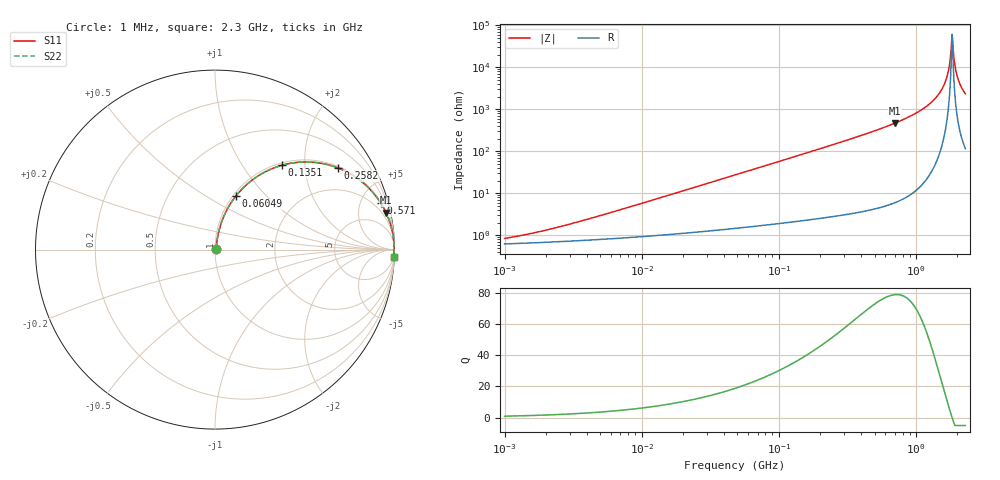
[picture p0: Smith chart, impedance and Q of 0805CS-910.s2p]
# MHz S MA R 50
!Freq  MagS11  AngS11  MagS21  AngS21  MagS12  AngS12  MagS22  AngS22
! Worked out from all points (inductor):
!   801 points, 1 MHz to 2.3 GHz, reference 50 ohm
!   read as one part in series: L = 90 nH near 4.067 MHz
!   highest Q = 78.6 at 699.6 MHz (marker M1), where L = 105 nH
!   self-resonance near 1.841 GHz
!   S11 on the Smith chart (normalised r, x): 1 MHz: 1.01, +0.01; 60.49 MHz: 1.03, +0.68; 135.1 MHz: 1.04, +1.54; 258.2 MHz: 1.06, +2.98; 571 MHz: 1.09, +7.14; 2.3 GHz: 3, -46
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1  0.00834 42.0  0.9938 -0.3  0.9938 -0.3  0.00834 42.0
3.656701  0.02182 68.9  0.9924 -1.2  0.9924 -1.2  0.02182 68.9
13.2427  0.0746 78.2  0.9875 -4.2  0.9875 -4.2  0.0746 78.2
47.95832  0.2588 72.0  0.9522 -15.0  0.9522 -15.0  0.2588 72.0
60.49448  0.3198 68.7  0.9329 -18.6  0.9329 -18.6  0.3198 68.7
135.0501  0.6012 51.5  0.7827 -36.9  0.7827 -36.9  0.6012 51.5
175.3692  0.6992 44.3  0.6985 -44.4  0.6985 -44.4  0.6992 44.3
258.2496  0.8231 33.5  0.5525 -55.4  0.5525 -55.4  0.8231 33.5
570.9746  0.9597 15.6  0.2686 -73.7  0.2686 -73.7  0.9597 15.6
635.0978  0.9683 13.7  0.2375 -75.5  0.2375 -75.5  0.9683 13.7
699.6199  0.9748 12.2  0.2108 -77.1  0.2108 -77.1  0.9748 12.2
1091.846  0.9929 6.0  0.1043 -83.1  0.1043 -83.1  0.9929 6.0
1431.601  0.9973 2.8  0.04876 -85.5  0.04876 -85.5  0.9973 2.8
1561.858  0.998 1.8  0.03175 -85.5  0.03175 -85.5  0.998 1.8
1655.215  0.9982 1.2  0.02054 -84.5  0.02054 -84.5  0.9982 1.2
1720.533  0.9983 0.7  0.01313 -82.4  0.01313 -82.4  0.9983 0.7
1788.429  0.9984 0.3  0.00584 -73.6  0.00584 -73.6  0.9984 0.3
1841.103  0.9983 0.0  0.001658 -1.6  0.001658 -1.6  0.9983 0.0
1895.329  0.9983 -0.3  0.005775 72.6  0.005775 72.6  0.9983 -0.3
1970.123  0.9982 -0.7  0.01307 81.5  0.01307 81.5  0.9982 -0.7
2047.868  0.998 -1.2  0.02047 83.7  0.02047 83.7  0.998 -1.2
2300  0.997 -2.5  0.04296 84.7  0.04296 84.7  0.997 -2.5
